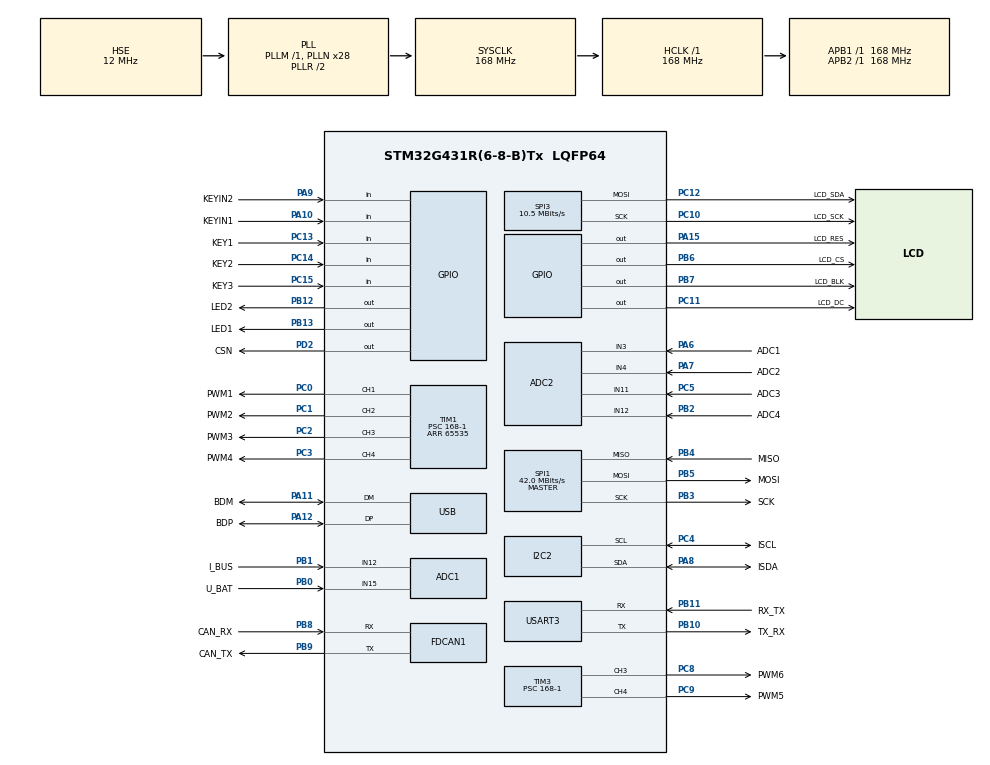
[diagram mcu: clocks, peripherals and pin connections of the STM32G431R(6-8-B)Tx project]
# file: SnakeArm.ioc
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ADC1.Channel-15\#ChannelRegularConversion=ADC_CHANNEL_12
ADC1.ClockPrescaler=ADC_CLOCK_ASYNC_DIV4
ADC1.DiscontinuousConvMode=DISABLE
ADC1.EOCSelection=ADC_EOC_SEQ_CONV
ADC1.ExternalTrigConv=ADC_SOFTWARE_START
ADC1.NbrOfConversion=1
ADC1.NbrOfConversionFlag=1
ADC1.OffsetNumber-15\#ChannelRegularConversion=ADC_OFFSET_NONE
ADC1.Rank-15\#ChannelRegularConversion=1
ADC1.SamplingTime-15\#ChannelRegularConversion=ADC_SAMPLETIME_24CYCLES_5
ADC1.master=1
ADC2.Channel-8\#ChannelRegularConversion=ADC_CHANNEL_3
ADC2.ClockPrescaler=ADC_CLOCK_ASYNC_DIV4
ADC2.ContinuousConvMode=DISABLE
ADC2.DMAContinuousRequests=DISABLE
ADC2.EOCSelection=ADC_EOC_SEQ_CONV
ADC2.ExternalTrigConv=ADC_SOFTWARE_START
ADC2.NbrOfConversion=1
ADC2.NbrOfConversionFlag=1
ADC2.OffsetNumber-8\#ChannelRegularConversion=ADC_OFFSET_NONE
ADC2.Rank-8\#ChannelRegularConversion=1
ADC2.SamplingTime-8\#ChannelRegularConversion=ADC_SAMPLETIME_2CYCLES_5
Dma.Request0=SPI3_TX
Dma.SPI3_TX.0.Direction=DMA_MEMORY_TO_PERIPH
Dma.SPI3_TX.0.EventEnable=DISABLE
Dma.SPI3_TX.0.Instance=DMA1_Channel1
Dma.SPI3_TX.0.MemDataAlignment=DMA_MDATAALIGN_BYTE
Dma.SPI3_TX.0.MemInc=DMA_MINC_ENABLE
Dma.SPI3_TX.0.Mode=DMA_NORMAL
Dma.SPI3_TX.0.PeriphDataAlignment=DMA_PDATAALIGN_BYTE
Dma.SPI3_TX.0.PeriphInc=DMA_PINC_DISABLE
Dma.SPI3_TX.0.Polarity=HAL_DMAMUX_REQ_GEN_RISING
Dma.SPI3_TX.0.Priority=DMA_PRIORITY_LOW
Dma.SPI3_TX.0.RequestNumber=1
Dma.SPI3_TX.0.SignalID=NONE
Dma.SPI3_TX.0.SyncEnable=DISABLE
Dma.SPI3_TX.0.SyncPolarity=HAL_DMAMUX_SYNC_NO_EVENT
Dma.SPI3_TX.0.SyncRequestNumber=1
Dma.SPI3_TX.0.SyncSignalID=NONE
FDCAN1.AutoRetransmission=DISABLE
FDCAN1.CalculateBaudRateNominal=249999
FDCAN1.CalculateTimeBitNominal=4000
FDCAN1.CalculateTimeQuantumNominal=166.66666666666669
FDCAN1.ClockDivider=FDCAN_CLOCK_DIV1
FDCAN1.DataPrescaler=7
FDCAN1.DataSyncJumpWidth=5
FDCAN1.DataTimeSeg1=18
FDCAN1.DataTimeSeg2=5
FDCAN1.ExtFiltersNbr=0
FDCAN1.FrameFormat=FDCAN_FRAME_CLASSIC
FDCAN1.Mode=FDCAN_MODE_NORMAL
FDCAN1.NominalPrescaler=7
FDCAN1.NominalSyncJumpWidth=2
FDCAN1.NominalTimeSeg1=18
FDCAN1.NominalTimeSeg2=5
FDCAN1.ProtocolException=DISABLE
FDCAN1.StdFiltersNbr=1
FDCAN1.TxFifoQueueMode=FDCAN_TX_FIFO_OPERATION
I2C2.Timing=0x50916E9F
Mcu.Family=STM32G4
Mcu.Name=STM32G431R(6-8-B)Tx
Mcu.Package=LQFP64
Mcu.UserConstants=TimerPeriod17,5;TimerPeriod16,100;TimerPeriod6,1000;TimerPeriod7,1
NVIC.DMA1_Channel1_IRQn=true\:0\:0\:false\:false\:true\:false\:true\:true
NVIC.FDCAN1_IT0_IRQn=true\:0\:0\:false\:false\:true\:true\:true\:true
NVIC.PriorityGroup=NVIC_PRIORITYGROUP_4
NVIC.TIM1_TRG_COM_TIM17_IRQn=true\:9\:0\:true\:false\:true\:true\:true\:true
NVIC.TIM1_UP_TIM16_IRQn=true\:7\:0\:true\:false\:true\:true\:true\:true
NVIC.TIM6_DAC_IRQn=true\:8\:0\:true\:false\:true\:true\:true\:true
NVIC.TIM7_IRQn=true\:10\:0\:true\:false\:true\:true\:true\:true
NVIC.USB_LP_IRQn=true\:0\:0\:false\:false\:true\:false\:true\:true
PA10.GPIO_Label=KEYIN1
PA10.Signal=GPIO_Input
PA11.GPIO_Label=BDM
PA11.Mode=Device
PA11.Signal=USB_DM
PA12.GPIO_Label=BDP
PA12.Mode=Device
PA12.Signal=USB_DP
PA13.GPIO_Label=DIO
PA13.Mode=Serial_Wire
PA13.Signal=SYS_JTMS-SWDIO
PA14.GPIO_Label=CLK
PA14.Mode=Serial_Wire
PA14.Signal=SYS_JTCK-SWCLK
PA15.GPIO_Label=LCD_RES
PA15.GPIO_PuPd=GPIO_PULLUP
PA15.Signal=GPIO_Output
PA6.GPIO_Label=ADC1
PA6.Mode=IN3-Single-Ended
PA6.Signal=ADC2_IN3
PA7.GPIO_Label=ADC2
PA7.Mode=IN4-Single-Ended
PA7.Signal=ADC2_IN4
PA8.GPIO_Label=ISDA
PA8.Mode=I2C
PA8.Signal=I2C2_SDA
PA9.GPIO_Label=KEYIN2
PA9.Signal=GPIO_Input
PB0.GPIO_Label=U_BAT
PB0.Mode=IN15-Single-Ended
PB0.Signal=ADC1_IN15
PB1.GPIO_Label=I_BUS
PB1.Mode=IN12-Single-Ended
PB1.Signal=ADC1_IN12
PB10.GPIO_Label=TX_RX
PB10.Mode=Asynchronous
PB10.Signal=USART3_TX
PB11.GPIO_Label=RX_TX
PB11.Mode=Asynchronous
PB11.Signal=USART3_RX
PB12.GPIO_Label=LED2
PB12.Signal=GPIO_Output
PB13.GPIO_Label=LED1
PB13.Signal=GPIO_Output
PB2.GPIO_Label=ADC4
PB2.Mode=IN12-Single-Ended
PB2.Signal=ADC2_IN12
PB3.GPIO_Label=SCK
PB3.Mode=Full_Duplex_Master
PB3.Signal=SPI1_SCK
PB4.GPIO_Label=MISO
PB4.Mode=Full_Duplex_Master
PB4.Signal=SPI1_MISO
PB5.GPIO_Label=MOSI
PB5.Mode=Full_Duplex_Master
PB5.Signal=SPI1_MOSI
PB6.GPIO_Label=LCD_CS
PB6.Signal=GPIO_Output
PB7.GPIO_Label=LCD_BLK
PB7.Signal=GPIO_Output
PB8-BOOT0.GPIO_Label=CAN_RX
PB8-BOOT0.Mode=FDCAN_Activate
PB8-BOOT0.Signal=FDCAN1_RX
PB9.GPIO_Label=CAN_TX
PB9.Mode=FDCAN_Activate
PB9.Signal=FDCAN1_TX
PC0.GPIO_Label=PWM1
PC0.Signal=S_TIM1_CH1
PC1.GPIO_Label=PWM2
PC1.Signal=S_TIM1_CH2
PC10.GPIO_Label=LCD_SCK
PC10.Mode=TX_Only_Simplex_Unidirect_Master
PC10.Signal=SPI3_SCK
PC11.GPIO_Label=LCD_DC
PC11.Signal=GPIO_Output
PC12.GPIO_Label=LCD_SDA
PC12.Mode=TX_Only_Simplex_Unidirect_Master
PC12.Signal=SPI3_MOSI
PC13.GPIO_Label=KEY1
PC13.Signal=GPIO_Input
PC14-OSC32_IN.GPIO_Label=KEY2
PC14-OSC32_IN.Signal=GPIO_Input
PC15-OSC32_OUT.GPIO_Label=KEY3
PC15-OSC32_OUT.Signal=GPIO_Input
PC2.GPIO_Label=PWM3
PC2.Signal=S_TIM1_CH3
PC3.GPIO_Label=PWM4
PC3.Signal=S_TIM1_CH4
PC4.GPIO_Label=ISCL
PC4.Mode=I2C
PC4.Signal=I2C2_SCL
PC5.GPIO_Label=ADC3
PC5.Mode=IN11-Single-Ended
PC5.Signal=ADC2_IN11
PC8.GPIO_Label=PWM6
PC8.Signal=S_TIM3_CH3
PC9.GPIO_Label=PWM5
PC9.Signal=S_TIM3_CH4
PD2.GPIO_Label=CSN
PD2.Signal=GPIO_Output
PF0-OSC_IN.GPIO_Label=O_IN
PF0-OSC_IN.Mode=HSE-External-Oscillator
PF0-OSC_IN.Signal=RCC_OSC_IN
PF1-OSC_OUT.GPIO_Label=O_OUT
PF1-OSC_OUT.Mode=HSE-External-Oscillator
PF1-OSC_OUT.Signal=RCC_OSC_OUT
ProjectManager.HeapSize=0x200
ProjectManager.StackSize=0x400
ProjectManager.TargetToolchain=STM32CubeIDE
RCC.ADC12CLockSelection=RCC_ADC12CLKSOURCE_PLL
RCC.ADC12Freq_Value=168000000
RCC.AHBFreq_Value=168000000
RCC.APB1Freq_Value=168000000
RCC.APB1TimFreq_Value=168000000
RCC.APB2Freq_Value=168000000
RCC.APB2TimFreq_Value=168000000
RCC.CK48CLockSelection=RCC_USBCLKSOURCE_HSI48
RCC.CortexFreq_Value=168000000
RCC.EXTERNAL_CLOCK_VALUE=12288000
RCC.FDCANCLockSelection=RCC_FDCANCLKSOURCE_PLL
RCC.FLatency-AdvancedSettings=FLASH_LATENCY_4
RCC.HCLKFreq_Value=168000000
RCC.HSE_VALUE=12000000
RCC.HSI48_VALUE=48000000
RCC.HSI_VALUE=16000000
RCC.LSE_VALUE=32768
RCC.PLLN=28
RCC.PLLQ=RCC_PLLQ_DIV8
RCC.PLLSourceVirtual=RCC_PLLSOURCE_HSE
RCC.SYSCLKFreq_VALUE=168000000
RCC.SYSCLKSource=RCC_SYSCLKSOURCE_PLLCLK
RCC.USBFreq_Value=48000000
RCC.VCOOutputFreq_Value=336000000
SH.S_TIM1_CH1.0=TIM1_CH1,PWM Generation1 CH1
SH.S_TIM1_CH2.0=TIM1_CH2,PWM Generation2 CH2
SH.S_TIM1_CH3.0=TIM1_CH3,PWM Generation3 CH3
SH.S_TIM1_CH4.0=TIM1_CH4,PWM Generation4 CH4
SH.S_TIM3_CH3.0=TIM3_CH3,PWM Generation3 CH3
SH.S_TIM3_CH4.0=TIM3_CH4,PWM Generation4 CH4
SPI1.BaudRatePrescaler=SPI_BAUDRATEPRESCALER_4
SPI1.CalculateBaudRate=42.0 MBits/s
SPI1.Direction=SPI_DIRECTION_2LINES
SPI1.Mode=SPI_MODE_MASTER
SPI1.VirtualType=VM_MASTER
SPI3.BaudRatePrescaler=SPI_BAUDRATEPRESCALER_16
SPI3.CLKPhase=SPI_PHASE_2EDGE
SPI3.CLKPolarity=SPI_POLARITY_HIGH
SPI3.CalculateBaudRate=10.5 MBits/s
SPI3.DataSize=SPI_DATASIZE_8BIT
SPI3.Direction=SPI_DIRECTION_2LINES
SPI3.Mode=SPI_MODE_MASTER
SPI3.VirtualType=VM_MASTER
TIM1.Channel-PWM\ Generation1\ CH1=TIM_CHANNEL_1
TIM1.Channel-PWM\ Generation2\ CH2=TIM_CHANNEL_2
TIM1.Channel-PWM\ Generation3\ CH3=TIM_CHANNEL_3
TIM1.Channel-PWM\ Generation4\ CH4=TIM_CHANNEL_4
TIM1.PeriodNoDither=65535
TIM1.Prescaler=168-1
TIM1.PulseNoDither_1=1500
TIM1.PulseNoDither_2=1500
TIM1.PulseNoDither_3=1500
TIM1.PulseNoDither_4=1500
TIM16.AutoReloadPreload=TIM_AUTORELOAD_PRELOAD_ENABLE
TIM16.Channel=TIM_CHANNEL_1
TIM16.PeriodNoDither=TimerPeriod16*10-1
TIM16.Prescaler=16800-1
TIM17.AutoReloadPreload=TIM_AUTORELOAD_PRELOAD_ENABLE
TIM17.Channel=TIM_CHANNEL_1
TIM17.PeriodNoDither=TimerPeriod17*10-1
TIM17.Prescaler=16800-1
TIM3.Channel-PWM\ Generation3\ CH3=TIM_CHANNEL_3
TIM3.Channel-PWM\ Generation4\ CH4=TIM_CHANNEL_4
TIM3.Prescaler=168-1
TIM3.PulseNoDither_3=1500
TIM3.PulseNoDither_4=1500
TIM6.AutoReloadPreload=TIM_AUTORELOAD_PRELOAD_ENABLE
TIM6.PeriodNoDither=TimerPeriod6*10-1
TIM6.Prescaler=16800-1
TIM7.AutoReloadPreload=TIM_AUTORELOAD_PRELOAD_ENABLE
TIM7.PeriodNoDither=TimerPeriod7*10-1
TIM7.Prescaler=16800-1
USART3.VirtualMode-Asynchronous=VM_ASYNC
USB_DEVICE.CLASS_NAME_FS=CDC
USB_DEVICE.VirtualMode=Cdc
USB_DEVICE.VirtualModeFS=Cdc_FS
VP_SYS_VS_DBSignals.Mode=DisableDeadBatterySignals
VP_TIM16_VS_ClockSourceINT.Mode=Enable_Timer
VP_TIM16_VS_no_output1.Mode=PWM Generation1 No Output
VP_TIM17_VS_ClockSourceINT.Mode=Enable_Timer
VP_TIM17_VS_no_output1.Mode=PWM Generation1 No Output
VP_TIM6_VS_ClockSourceINT.Mode=Enable_Timer
VP_TIM7_VS_ClockSourceINT.Mode=Enable_Timer
VP_USB_DEVICE_VS_USB_DEVICE_CDC_FS.Mode=CDC_FS
board=custom

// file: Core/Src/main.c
/* USER CODE BEGIN Header */
/**
 ******************************************************************************
 * @file           : main.c
 * @brief          : Main program body
 ******************************************************************************
 * @attention
 *
 * Copyright (c) 2024 STMicroelectronics.
 * All rights reserved.
 *
 * This software is licensed under terms that can be found in the LICENSE file
 * in the root directory of this software component.
 * If no LICENSE file comes with this software, it is provided AS-IS.
 *
 ******************************************************************************
 */
/* USER CODE END Header */
#include "main.h"
#include "adc.h"
#include "dma.h"
#include "fdcan.h"
#include "i2c.h"
#include "spi.h"
#include "tim.h"
#include "usart.h"
#include "usb_device.h"
#include "gpio.h"

/* USER CODE BEGIN Includes */
#include <stdio.h>
#include "usbd_cdc_if.h"
#include "math.h"
#include "GUI_Paint.h"
#include "fonts.h"
#include "image.h"
#include "LCD_1in14.h"
#include "UI.h"
#include "CAN_Com.h"
#include "error.h"

/* USER CODE END Includes */

void SystemClock_Config(void);
/* USER CODE BEGIN PFP */
long GetMicros(void) {
	//获取当前毫秒
	uint32_t m = HAL_GetTick();
	//获取嘀嗒定时器重装载值
	const uint32_t tms = SysTick->LOAD + 1;
	//获取当前滴答定时器计数值
	__IO uint32_t u = tms - SysTick->VAL;
	//返还对应的值
	return (long) (m * 1000 + (u * 1000) / tms);
}
/* USER CODE END PFP */

/* USER CODE BEGIN 0 */
//FLASH_OBProgramInitTypeDef OptionsByteStruct;
/* USER CODE END 0 */

int main(void) {

	/* MCU Configuration--------------------------------------------------------*/

	/* Reset of all peripherals, Initializes the Flash interface and the Systick. */
	HAL_Init();

	/* USER CODE BEGIN Init */
	//nSWBOOT0 Setting
	/*HAL_FLASH_Unlock();
	 HAL_FLASH_OB_Unlock();
	 HAL_FLASHEx_OBGetConfig(&OptionsByteStruct);
	 OptionsByteStruct.OptionType = OPTIONBYTE_USER;
	 OptionsByteStruct.USERType = OB_USER_nBOOT0;
	 OptionsByteStruct.USERConfig = OB_nBOOT0_SET;
	 HAL_FLASHEx_OBProgram(&OptionsByteStruct);
	 OptionsByteStruct.OptionType = OPTIONBYTE_USER;
	 OptionsByteStruct.USERType = OB_USER_nSWBOOT0;
	 OptionsByteStruct.USERConfig = OB_BOOT0_FROM_OB;
	 HAL_FLASHEx_OBProgram(&OptionsByteStruct);
	 HAL_FLASH_OB_Launch();
	 HAL_FLASH_OB_Lock();
	 HAL_FLASH_Lock();*/

	/* USER CODE END Init */

	/* Configure the system clock */
	SystemClock_Config();

	/* Initialize all configured peripherals */
	MX_GPIO_Init();
	MX_DMA_Init();
	MX_ADC1_Init();
	MX_ADC2_Init();
	MX_FDCAN1_Init();
	MX_SPI1_Init();
	MX_SPI3_Init();
	MX_TIM1_Init();
	MX_USART3_UART_Init();
	MX_USB_Device_Init();
	MX_TIM17_Init();
	MX_TIM16_Init();
	MX_I2C2_Init();
	MX_TIM3_Init();
	MX_TIM6_Init();
	MX_TIM7_Init();
	/* USER CODE BEGIN 2 */
	Can_Config(); //Can配置信息
	//HAL_FDCAN_ActivateNotification(&hfdcan1, FDCAN_IT_RX_FIFO0_NEW_MESSAGE, 0);
	vofa_start();
	Servo_Init();

	HAL_ADCEx_Calibration_Start(&hadc1, ADC_SINGLE_ENDED);
	HAL_ADCEx_Calibration_Start(&hadc2, ADC_SINGLE_ENDED);
	HAL_ADC_Start(&hadc1);
	HAL_ADC_Start(&hadc2);

	PID_Module_Init();
	Kalman_Init_All();
	Status_monitor_init_all();

	int driver_initialization_flag = 0;
	int main_loop_flag = 0;
	int PG0_long_press_counter = 0;
	struct angle_speed_torque Driver_AST_1 = { 0, 0, 0 };
	struct angle_speed_torque Driver_AST_2 = { 0, 0, 0 };
	struct angle_speed_torque Driver_AST_3 = { 0, 0, 0 };

	//uint8_t SystemClock = 0;
	//long SystemTimer = 0;

	HAL_TIM_Base_Start_IT(&htim17);	// 回传基准时钟5ms
	HAL_TIM_Base_Start_IT(&htim16);	// 屏幕刷新基准时钟100ms

	HAL_Delay(200);
	UI_Init();	// UI初始化之前，需要给ST7789V发一点信息，否则其无法正常按照水平方向初始化，原因不明

	HAL_TIM_Base_Start_IT(&htim7);	// 控制循环基准时钟1ms
	HAL_TIM_Base_Start_IT(&htim6);	// 占用率错误监测基准时钟1000ms

	/* USER CODE END 2 */

	/* Infinite loop */
	/* USER CODE BEGIN WHILE */
	while (1) {
		//系统刷新率计算
		system_cycle_counter++;
		//系统占用率计算
//		 SystemCircleTimes++;
//		 if ((float) (HAL_GetTick() - SystemClock) > 1000) {
//		 SystemOccupancy = 1 - ((float) (SystemTimer / 1000) / (float) (HAL_GetTick() - SystemClock));
//		 SystemClock = HAL_GetTick();
//		 SystemCircleTimesRecord = SystemCircleTimes;
//		 SystemCircleTimes = 0;
//
//		 }
//		 long SystemTimerLast = GetMicros();

//		Home.status[0].num2 = (float) ADC_Value1[0] / 4096 * 26.4;
//		Home.status[1].num2 = (float) ADC_Value1[1] / 4096 * 5;
//		Home.status[2].num2 = SystemOccupancy * 100;
//		Home.status[0].num1 = tension_sensor[0];
//		Home.status[1].num1 = tension_sensor[1];
//		Home.status[2].num1 = tension_sensor[2];
//		parameters_reflash_flag = 1;

		KEY_Scan();

		if (driver_monitoring_flag) {		//回传基准时钟驱动
			if (!Buttom_Flag[1]) {	//主程序未执行下的操作，通常用于测试
				if (Buttom_Flag[0]) {
					PG0_long_press_counter++;
					HandleMenuSwitch(L1_menu_items, sizeof(L1_menu_items) / sizeof(MenuItem), &PG0_long_press_counter);
				} else {	//解算工作状态
					if (PG0_long_press_counter != 0) {
						PG0_long_press_counter = 0;	//清空长按计数器
						HandleMenuSwitch(L1_menu_items, sizeof(L1_menu_items) / sizeof(MenuItem), &PG0_long_press_counter);
						switch (program_mode_code) {
						case 000:
							Status_Set("[READY]", GREEN, 0, 0);
							break;
						default:
						}
						if (ErrorCode_Sys.all == 0) {
							Status_Set(0, 0, "Normal", GREEN);
						}
					}
				}
			}
			if (Buttom_Flag[1]) {
				if (!driver_initialization_flag) {	//初始化设置 仅执行一次
					driver_initialization_flag = 1;
					program_mode_code = 888;	//临时屏蔽超时错误
					/////**************设置零点位置*************////////
					set_zero_position(0); //给关节设置零点
					/////**************开启角度、转速、力矩实时反馈*************////////
					enable_angle_speed_torque_state(0);
					set_state_feedback_rate_ms(0, 5);
					HAL_Delay(200);
					for (int i = 0; i < 3; i++) {
						Control_Command[i] = 20;					//初始化为力矩模式 设置力矩为零
						Control_Data[i] = 0;
					}
					Status_Set("Offline", YELLOW, "ZeroNone", WHITE);					//外部信号驱动
					program_mode_code = 200;
//					HAL_GPIO_WritePin(LED2_GPIO_Port, LED2_Pin, SET);
				}

				if (Buttom_Flag[0]) {
					PG0_long_press_counter++;
					HandleMenuSwitch(L2_menu_items, sizeof(L2_menu_items) / sizeof(MenuItem), &PG0_long_press_counter);
				} else {	//解算工作状态
					if (PG0_long_press_counter != 0) {
						PG0_long_press_counter = 0;	//清空长按计数器
						HandleMenuSwitch(L2_menu_items, sizeof(L2_menu_items) / sizeof(MenuItem), &PG0_long_press_counter);
						switch (program_mode_code) {
						case 000:
							Status_Set("[READY]", GREEN, "Idling", WHITE);
							for (int i = 0; i < 3; i++) {
								Control_Command[i] = 20;	//初始化为力矩模式 设置力矩为零
								Control_Data[i] = 0;
								set_torque(i + 1, Control_Data[i], 1, 0);
							}
							break;
						case 201:
							HAL_TIM_Base_Stop_IT(&htim7);
							Status_Set("Online", GREEN, 0, 0);
							for (int i = 0; i < 3; i++) {
								set_speed(i + 1, 0, 1000, 0);
							}
							for (int i = 0; i < 3; i++) {
								while (!(fabs(Speed_Data[i]) <= 0.1f)) {
									set_speed(i + 1, 0, 1000, 0);
									Driver_AST_1 = angle_speed_torque_state(1);
									Driver_AST_2 = angle_speed_torque_state(2);
									Driver_AST_3 = angle_speed_torque_state(3);
									Speed_Data[0] = Driver_AST_1.speed;
									Speed_Data[1] = Driver_AST_2.speed;
									Speed_Data[2] = Driver_AST_3.speed;
								};
							}
							for (int i = 0; i < 3; i++) {
								if (Control_Command[i] == 28) {
									set_zero_position_temp(i + 1);
									while (!(fabs(Angle_Data[i]) <= 0.1f)) {
										set_zero_position_temp(i + 1);
										Driver_AST_1 = angle_speed_torque_state(1);
										Driver_AST_2 = angle_speed_torque_state(2);
										Driver_AST_3 = angle_speed_torque_state(3);
										Angle_Data[0] = Driver_AST_1.angle;
										Angle_Data[1] = Driver_AST_2.angle;
										Angle_Data[2] = Driver_AST_3.angle;
									};
									estop(i + 1);
								} else {
									estop(i + 1);
									set_zero_position_temp(i + 1);
								}
								Control_Command[i] = 16;	//初始化为位置模式 设置位置为零
								Control_Data[i] = 0;
								set_angle(i + 1, Control_Data[i], 10, 10, 1);
							}
							HAL_TIM_Base_Start_IT(&htim7);
							break;
						case 202:
							estop(0);
							for (int i = 0; i < 3; i++) {
								Control_Command[i] = 20;	//初始化为力矩模式 设置力矩为零
								Control_Data[i] = 0;
								set_torque(i + 1, Control_Data[i], 1, 0);
							}
							break;
						case 203:
							estop(0);
							for (int i = 0; i < 3; i++) {
								Control_Command[i] = 22;	//初始化为速度模式 设置速度为零
								Control_Data[i] = 0;
								set_speed(i + 1, Control_Data[i], 1000, 1);
							}
							break;
						default:
						}
						if (ErrorCode_Sys.all == 0) {
							Status_Set(0, 0, "Normal", GREEN);
						}
					}
				}

				Driver_AST_1 = angle_speed_torque_state(1);
				Driver_AST_2 = angle_speed_torque_state(2);
				Driver_AST_3 = angle_speed_torque_state(3);

				Angle_Data[0] = Driver_AST_1.angle;
				Angle_Data[1] = Driver_AST_2.angle;
				Angle_Data[2] = Driver_AST_3.angle;
				Speed_Data[0] = Driver_AST_1.speed;
				Speed_Data[1] = Driver_AST_2.speed;
				Speed_Data[2] = Driver_AST_3.speed;
				Torque_Data[0] = Driver_AST_1.torque;
				Torque_Data[1] = Driver_AST_2.torque;
				Torque_Data[2] = Driver_AST_3.torque;

				static uint8_t Control_Command_Last[3] = { 0 };
				for (int i = 0; i < 3; i++) {
					Home.params[i].num2 = Control_Data[i];
					switch (Control_Command[i]) {
					case 20:
						Home.params[i].num1 = Torque_Data[i];
						break;
					case 16:
						Home.params[i].num1 = Angle_Data[i];
						break;
					case 22:
						Home.params[i].num1 = Speed_Data[i];
						break;
					case 28:
						Home.params[i].num1 = Speed_Data[i];
						break;
					default:
					}
					if (Control_Command[i] != Control_Command_Last[i]) {
						switch (Control_Command[i]) {
						case 20:
							Paint_DrawString_EN(125, (63 + i * 18), "T->", &Font16, BLACK, GBLUE);
							break;
						case 16:
							Paint_DrawString_EN(125, (63 + i * 18), "P->", &Font16, BLACK, GBLUE);
							break;
						case 22:
							Paint_DrawString_EN(125, (63 + i * 18), "V->", &Font16, BLACK, GBLUE);
							break;
						case 28:
							Paint_DrawString_EN(125, (63 + i * 18), "Tc:", &Font16, BLACK, GBLUE);
							break;
						default:
						}
						Control_Command_Last[i] = Control_Command[i];
					}
				}
				parameters_reflash_flag = 1;

			} else {
				if (driver_initialization_flag) {
					estop(0);
					driver_initialization_flag = 0;
//					HAL_GPIO_WritePin(LED2_GPIO_Port, LED2_Pin, RESET);
				}
			}

//			 if (Program_Flag[0]) {					//LED控制
//			 HAL_GPIO_WritePin(LED2_GPIO_Port, LED2_Pin, SET);
//			 } else {
//			 HAL_GPIO_WritePin(LED2_GPIO_Port, LED2_Pin, RESET);

			driver_monitoring_flag = 0;

			HAL_GPIO_WritePin(LED1_GPIO_Port, LED1_Pin, main_loop_flag);	//主循环工作标识
			main_loop_flag = !main_loop_flag;
			Sys_Timeout_Count = 0;
		}

		//SystemTimer += (GetMicros() - SystemTimerLast);

		/* USER CODE END WHILE */

	}
}

void SystemClock_Config(void) {
	RCC_OscInitTypeDef RCC_OscInitStruct = { 0 };
	RCC_ClkInitTypeDef RCC_ClkInitStruct = { 0 };

	/** Configure the main internal regulator output voltage
	 */
	HAL_PWREx_ControlVoltageScaling(PWR_REGULATOR_VOLTAGE_SCALE1_BOOST);

	/** Initializes the RCC Oscillators according to the specified parameters
	 * in the RCC_OscInitTypeDef structure.
	 */
	RCC_OscInitStruct.OscillatorType = RCC_OSCILLATORTYPE_HSI48 | RCC_OSCILLATORTYPE_HSE;
	RCC_OscInitStruct.HSEState = RCC_HSE_ON;
	RCC_OscInitStruct.HSI48State = RCC_HSI48_ON;
	RCC_OscInitStruct.PLL.PLLState = RCC_PLL_ON;
	RCC_OscInitStruct.PLL.PLLSource = RCC_PLLSOURCE_HSE;
	RCC_OscInitStruct.PLL.PLLM = RCC_PLLM_DIV1;
	RCC_OscInitStruct.PLL.PLLN = 28;
	RCC_OscInitStruct.PLL.PLLP = RCC_PLLP_DIV2;
	RCC_OscInitStruct.PLL.PLLQ = RCC_PLLQ_DIV8;
	RCC_OscInitStruct.PLL.PLLR = RCC_PLLR_DIV2;
	if (HAL_RCC_OscConfig(&RCC_OscInitStruct) != HAL_OK) {
		Error_Handler();
	}

	/** Initializes the CPU, AHB and APB buses clocks
	 */
	RCC_ClkInitStruct.ClockType = RCC_CLOCKTYPE_HCLK | RCC_CLOCKTYPE_SYSCLK | RCC_CLOCKTYPE_PCLK1 | RCC_CLOCKTYPE_PCLK2;
	RCC_ClkInitStruct.SYSCLKSource = RCC_SYSCLKSOURCE_PLLCLK;
	RCC_ClkInitStruct.AHBCLKDivider = RCC_SYSCLK_DIV1;
	RCC_ClkInitStruct.APB1CLKDivider = RCC_HCLK_DIV1;
	RCC_ClkInitStruct.APB2CLKDivider = RCC_HCLK_DIV1;

	if (HAL_RCC_ClockConfig(&RCC_ClkInitStruct, FLASH_LATENCY_4) != HAL_OK) {
		Error_Handler();
	}
}

void Error_Handler(void) {
	__disable_irq();
	while (1) {
	}
}
